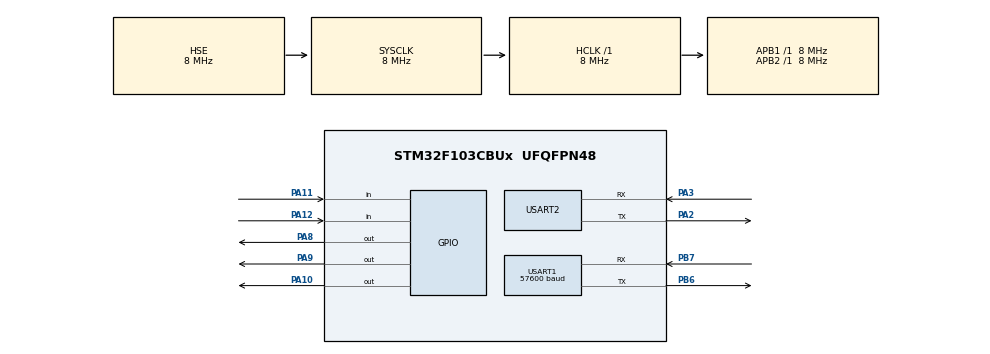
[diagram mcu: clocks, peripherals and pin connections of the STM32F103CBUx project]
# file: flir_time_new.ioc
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Dma.Request0=USART1_RX
Dma.USART1_RX.0.Direction=DMA_PERIPH_TO_MEMORY
Dma.USART1_RX.0.Instance=DMA1_Channel5
Dma.USART1_RX.0.MemDataAlignment=DMA_MDATAALIGN_BYTE
Dma.USART1_RX.0.MemInc=DMA_MINC_ENABLE
Dma.USART1_RX.0.Mode=DMA_NORMAL
Dma.USART1_RX.0.PeriphDataAlignment=DMA_PDATAALIGN_BYTE
Dma.USART1_RX.0.PeriphInc=DMA_PINC_DISABLE
Dma.USART1_RX.0.Priority=DMA_PRIORITY_LOW
Mcu.Family=STM32F1
Mcu.Name=STM32F103CBUx
Mcu.Package=UFQFPN48
NVIC.DMA1_Channel5_IRQn=true\:0\:0\:false\:false\:true\:false
NVIC.PriorityGroup=NVIC_PRIORITYGROUP_4
NVIC.USART1_IRQn=true\:0\:0\:false\:false\:true\:true
PA10.Signal=GPIO_Output
PA11.Signal=GPIO_Input
PA12.Signal=GPIO_Input
PA13.Mode=Serial_Wire
PA13.Signal=SYS_JTMS-SWDIO
PA14.Mode=Serial_Wire
PA14.Signal=SYS_JTCK-SWCLK
PA2.Mode=Asynchronous
PA2.Signal=USART2_TX
PA3.Mode=Asynchronous
PA3.Signal=USART2_RX
PA8.Signal=GPIO_Output
PA9.Signal=GPIO_Output
PB6.Mode=Asynchronous
PB6.Signal=USART1_TX
PB7.Mode=Asynchronous
PB7.Signal=USART1_RX
PD0-OSC_IN.Mode=HSE-External-Oscillator
PD0-OSC_IN.Signal=RCC_OSC_IN
PD1-OSC_OUT.Mode=HSE-External-Oscillator
PD1-OSC_OUT.Signal=RCC_OSC_OUT
ProjectManager.HeapSize=0x200
ProjectManager.StackSize=0x400
ProjectManager.TargetToolchain=MDK-ARM V5
RCC.AHBFreq_Value=8000000
RCC.APB1Freq_Value=8000000
RCC.APB1TimFreq_Value=8000000
RCC.APB2Freq_Value=8000000
RCC.APB2TimFreq_Value=8000000
RCC.HCLKFreq_Value=8000000
RCC.SYSCLKFreq_VALUE=8000000
RCC.SYSCLKSource=RCC_SYSCLKSOURCE_HSE
RCC.USBFreq_Value=8000000
USART1.BaudRate=57600
USART1.VirtualMode=VM_ASYNC
USART2.VirtualMode=VM_ASYNC
board=flir

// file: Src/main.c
/**
  ******************************************************************************
  * @file           : main.c
  * @brief          : Main program body
  ******************************************************************************
  ** This notice applies to any and all portions of this file
  * that are not between comment pairs USER CODE BEGIN and
  * USER CODE END. Other portions of this file, whether
  * inserted by the user or by software development tools
  * are owned by their respective copyright owners.
  *
  * COPYRIGHT(c) 2018 STMicroelectronics
  *
  * Redistribution and use in source and binary forms, with or without modification,
  * are permitted provided that the following conditions are met:
  *   1. Redistributions of source code must retain the above copyright notice,
  *      this list of conditions and the following disclaimer.
  *   2. Redistributions in binary form must reproduce the above copyright notice,
  *      this list of conditions and the following disclaimer in the documentation
  *      and/or other materials provided with the distribution.
  *   3. Neither the name of STMicroelectronics nor the names of its contributors
  *      may be used to endorse or promote products derived from this software
  *      without specific prior written permission.
  *
  * THIS SOFTWARE IS PROVIDED BY THE COPYRIGHT HOLDERS AND CONTRIBUTORS "AS IS"
  * AND ANY EXPRESS OR IMPLIED WARRANTIES, INCLUDING, BUT NOT LIMITED TO, THE
  * IMPLIED WARRANTIES OF MERCHANTABILITY AND FITNESS FOR A PARTICULAR PURPOSE ARE
  * DISCLAIMED. IN NO EVENT SHALL THE COPYRIGHT HOLDER OR CONTRIBUTORS BE LIABLE
  * FOR ANY DIRECT, INDIRECT, INCIDENTAL, SPECIAL, EXEMPLARY, OR CONSEQUENTIAL
  * DAMAGES (INCLUDING, BUT NOT LIMITED TO, PROCUREMENT OF SUBSTITUTE GOODS OR
  * SERVICES; LOSS OF USE, DATA, OR PROFITS; OR BUSINESS INTERRUPTION) HOWEVER
  * CAUSED AND ON ANY THEORY OF LIABILITY, WHETHER IN CONTRACT, STRICT LIABILITY,
  * OR TORT (INCLUDING NEGLIGENCE OR OTHERWISE) ARISING IN ANY WAY OUT OF THE USE
  * OF THIS SOFTWARE, EVEN IF ADVISED OF THE POSSIBILITY OF SUCH DAMAGE.
  *
  ******************************************************************************
  */
#include "main.h"
#include "stm32f1xx_hal.h"
#include "dma.h"
#include "usart.h"
#include "gpio.h"

/* USER CODE BEGIN Includes */
#include "flir.h"
#include "core.h"
#include "ui_menu.h"

#define  RXBUFLEN  64

/* USER CODE END Includes */

/* USER CODE BEGIN PV */
/* Private variables ---------------------------------------------------------*/
uint32_t cur_tick = 0;
uint32_t tmp_tick = 0;
uint32_t sec_tick = 0;

uint8_t rx_cnt = 0;
uint8_t rx_data = 0;
uint8_t rx_buff[RXBUFLEN];
uint8_t answ_ready = 0;
uint8_t *ui_rx_buff;

uint16_t to_save = 0;

uint8_t keys_mode = 0;

/* USER CODE END PV */

void SystemClock_Config(void);

/* USER CODE BEGIN PFP */
/* Private function prototypes -----------------------------------------------*/
/* USER CODE END PFP */

int main(void)
{
  /* USER CODE BEGIN 1 */

	//uint8_t i;
	uint8_t btn_grp[3] = {0, 0 ,0};
  uint8_t btn = 0, tmp_btn = 0;
	uint8_t mode = 0;
	uint8_t cmd_init = 0;
	uint8_t res_test = 0;
	uint8_t cnt_init = 0;
	uint16_t btn_time = 0;

	//btn_grp[0] = 0; btn_grp[1] = 0; btn_grp[2] = 0;

  /* USER CODE END 1 */

  /* MCU Configuration----------------------------------------------------------*/

  /* Reset of all peripherals, Initializes the Flash interface and the Systick. */
  HAL_Init();

  /* Configure the system clock */
  SystemClock_Config();

  /* Initialize all configured peripherals */
  MX_GPIO_Init();
  MX_DMA_Init();
  MX_USART2_UART_Init();
  MX_USART1_UART_Init();
  /* USER CODE BEGIN 2 */
	HAL_GPIO_WritePin(GPIOA, GPIO_PIN_11|GPIO_PIN_12, GPIO_PIN_SET);
	HAL_GPIO_WritePin(GPIOA, GPIO_PIN_8|GPIO_PIN_9|GPIO_PIN_10, GPIO_PIN_SET);

	HAL_UART_Receive_IT(&huart1, &rx_data, 1);

	ui_rx_buff = rx_buff;

	printf("Hello!\n\r");

	btn = 0;
	HAL_GPIO_WritePin(GPIOA, GPIO_PIN_8, GPIO_PIN_RESET);
	if (HAL_GPIO_ReadPin(GPIOA, GPIO_PIN_11) == GPIO_PIN_RESET) btn = 4;
	else if (HAL_GPIO_ReadPin(GPIOA, GPIO_PIN_12) == GPIO_PIN_RESET) btn = 1;
	HAL_GPIO_WritePin(GPIOA, GPIO_PIN_8, GPIO_PIN_SET);

	HAL_GPIO_WritePin(GPIOA, GPIO_PIN_9, GPIO_PIN_RESET);
	if (HAL_GPIO_ReadPin(GPIOA, GPIO_PIN_11) == GPIO_PIN_RESET) btn = 5;
	else if (HAL_GPIO_ReadPin(GPIOA, GPIO_PIN_12) == GPIO_PIN_RESET) btn = 2;
	HAL_GPIO_WritePin(GPIOA, GPIO_PIN_9, GPIO_PIN_SET);

	HAL_GPIO_WritePin(GPIOA, GPIO_PIN_10, GPIO_PIN_RESET);
	if (HAL_GPIO_ReadPin(GPIOA, GPIO_PIN_11) == GPIO_PIN_RESET) btn = 6;
	else if (HAL_GPIO_ReadPin(GPIOA, GPIO_PIN_12) == GPIO_PIN_RESET) btn = 3;
	//HAL_GPIO_WritePin(GPIOA, GPIO_PIN_10, GPIO_PIN_SET);
	//btn = 3;
	HAL_GPIO_WritePin(GPIOA, GPIO_PIN_8|GPIO_PIN_9, GPIO_PIN_RESET);
	while ((HAL_GPIO_ReadPin(GPIOA, GPIO_PIN_11) == GPIO_PIN_RESET)||(HAL_GPIO_ReadPin(GPIOA, GPIO_PIN_12) == GPIO_PIN_RESET)){
		//HAL_Delay(1);
	}
	HAL_GPIO_WritePin(GPIOA, GPIO_PIN_8|GPIO_PIN_9|GPIO_PIN_10, GPIO_PIN_SET);

	printf("Button init %d\n\r", btn);

	HAL_Delay(1000);

	cur_tick = HAL_GetTick();
  /* USER CODE END 2 */

  /* Infinite loop */
  while (1)
  {

  /* USER CODE BEGIN 3 */
		//test ping on start
		if (cmd_init == 0){
			res_test = flir_test();
			printf("test %d\n\r", res_test);
			if (res_test != 0) cmd_init = 1;
			else cmd_init = 2;
		}
		//init after ping reply
		if (cmd_init == 1){
			opt_init();

			//if (btn == 1) opt_clear();
			//if (btn == 2) opt_aim1(0xff, 1);
			//if (btn == 3) opt_aim2(0xff);
			//if (btn == 5) opt_aim1(1, 0xff);
			//if (btn == 6) opt_aim2(1,);
			//if (btn != 0) to_save = 1;
			btn = 0;
			cmd_init = 3;
			//opt_test_colors(&huart1, rx_buff);
		}

		cur_tick = HAL_GetTick();
		if (cur_tick - tmp_tick >= 20){
			//printf(" tick %d %d %d\n\r", cur_tick, tmp_tick, cur_tick - tmp_tick);
			tmp_tick = cur_tick;

			HAL_GPIO_WritePin(GPIOA, GPIO_PIN_8|GPIO_PIN_9|GPIO_PIN_10, GPIO_PIN_SET);
			if      (mode == 0) HAL_GPIO_WritePin(GPIOA, GPIO_PIN_8, GPIO_PIN_RESET);
			else if (mode == 1) HAL_GPIO_WritePin(GPIOA, GPIO_PIN_9, GPIO_PIN_RESET);
			else if (mode == 2) HAL_GPIO_WritePin(GPIOA, GPIO_PIN_10, GPIO_PIN_RESET);

			btn_grp[mode] = 0;
			if      (HAL_GPIO_ReadPin(GPIOA, GPIO_PIN_11) == GPIO_PIN_RESET) btn_grp[mode] = 1;
			else if (HAL_GPIO_ReadPin(GPIOA, GPIO_PIN_12) == GPIO_PIN_RESET) btn_grp[mode] = 2;

			if      (mode == 0 && btn_grp[mode] == 1) btn = 1;
			else if (mode == 1 && btn_grp[mode] == 1) btn = 2;
			else if (mode == 2 && btn_grp[mode] == 1) btn = 3;
			else if (mode == 0 && btn_grp[mode] == 2) btn = 4;
			else if (mode == 1 && btn_grp[mode] == 2) btn = 5;
			else if (mode == 2 && btn_grp[mode] == 2) btn = 6;

			if (mode == 2) {
				if (btn_grp[0] == 0 && btn_grp[1] == 0 && btn_grp[2] == 0)
				{
					btn = 0;
					if (tmp_btn) printf("Button up %d %d\n\r", tmp_btn, btn_time);

					if (keys_mode==0){
						if (btn_time > 60){
							//if (tmp_btn == 1) opt_agg  ();
							//if (tmp_btn == 2) opt_aim1 (0xff, 1);
							//if (tmp_btn == 3) opt_aim2 (0xff);
							//if (tmp_btn == 4) opt_clear();
							//if (tmp_btn == 5)	opt_aim1 (1, 0xff);
							//if (tmp_btn == 6)	opt_aim2 (1);
						}else if (btn_time > 5){
							if (tmp_btn == 1) opt_zoom_up        ();
							if (tmp_btn == 2) opt_brightness_up  ();
							//if (tmp_btn == 1) opt_tilt_up       ();
							if (tmp_btn == 3) opt_pallette_up    ();
							//if (tmp_btn == 3) opt_pan_up        ();
							//if (tmp_btn == 4) opt_zoom_down     ();
							if (tmp_btn == 4) {
								menu_draw();
								keys_mode = 1;
							}
							if (tmp_btn == 5)	opt_brightness_down();

							//if (tmp_btn == 4)	opt_tilt_down  ();
							if (tmp_btn == 6)	opt_pallette_down  ();
							//if (tmp_btn == 6)	opt_pan_down  ();
						}
					} else if (keys_mode==1) {
						//
							if (tmp_btn == 2) menu_up();
							if (tmp_btn == 5)	menu_down();
							if (tmp_btn == 4) {
								menu_select();
							}
					} else if (keys_mode==2) {
						//
							if (tmp_btn == 4) {
								menu_hide();
								keys_mode = 0;
							}
					} else if (keys_mode==3) {
						//
							if (tmp_btn == 2) opt_sight_up();
							if (tmp_btn == 5)	opt_sight_down();
							if (tmp_btn == 4) {
								menu_hide();
								keys_mode = 0;
							}
					} else if (keys_mode==4) {
						//
							if (tmp_btn == 2)
							{
								opt_tilt_up();
								opt_draw_pan_tilt(99, 20, 25, 1, 0, 0, 255);
							}
							if (tmp_btn == 5)	{
								opt_tilt_down();
								opt_draw_pan_tilt(99, 20, 25, 1, 0, 0, 255);
							}
							if (tmp_btn == 1) {
								opt_pan_up();
								opt_draw_pan_tilt(99, 20, 25, 1, 0, 0, 255);
							}
							if (tmp_btn == 3)	{
								opt_pan_down();
								opt_draw_pan_tilt(99, 20, 25, 1, 0, 0, 255);
							}
							if (tmp_btn == 4) {
								menu_main();
								menu_hide();
								keys_mode = 0;
							}
					} else if (keys_mode==5) {
							if (tmp_btn == 2) {
								opt_pallette_step_up();
								opt_draw_palette(99, 20, 25, 1, 0, 0, 255);
							}
							if (tmp_btn == 5)	{
								opt_pallette_step_down();
								opt_draw_palette(99, 20, 25, 1, 0, 0, 255);
						  }
							if (tmp_btn == 4) {
								menu_hide();
								opt_pallette_set();
								keys_mode = 0;
							}
					}
					btn_time = 0;
				}
			}

			if (btn != 0) {
				btn_time++;
			}

			if (btn != tmp_btn) {
				if (btn != 0) {
					printf("Button down %d\n\r", btn);
					rx_cnt = 0;
					if (cmd_init == 3){
						//if (btn == 1) opt_zoom_up        ();
						//if (btn == 2) opt_brightness_up  ();
						//if (btn == 3) opt_pallette_up    ();
						//if (btn == 4) opt_zoom_down      ();
						//if (btn == 5)	opt_brightness_down();
						//if (btn == 6)	opt_pallette_down  ();
					}
				} else {
					//if (tmp_btn) printf("Button up %d\n\r", tmp_btn);
				}
				tmp_btn = btn;
			}

			mode++;
			if (mode > 2) {
				mode = 0;
				//if (btn_grp[0] == 0 && btn_grp[1] == 0 && btn_grp[2] == 0) btn = 0;
			}
		}

		cur_tick = HAL_GetTick();
		if (cur_tick - sec_tick >= 1000){
			//printf(" tick %d %d %d\n\r", cur_tick, tmp_tick, cur_tick - tmp_tick);
			sec_tick = cur_tick;

			//reping after 1sec
			if (cmd_init == 2) cnt_init++;
			if (cnt_init >= 1){
				cmd_init = 0;
				cnt_init = 0;
			}

#ifdef FLIR_AUTOSAVE
			if (to_save > 0) to_save++;
			if (to_save >= 10){
				opt_save();
				to_save = 0;
			}
#endif
		}
  }
  /* USER CODE END 3 */

}

void SystemClock_Config(void)
{

  RCC_OscInitTypeDef RCC_OscInitStruct;
  RCC_ClkInitTypeDef RCC_ClkInitStruct;

    /**Initializes the CPU, AHB and APB busses clocks
    */
  RCC_OscInitStruct.OscillatorType = RCC_OSCILLATORTYPE_HSE;
  RCC_OscInitStruct.HSEState = RCC_HSE_ON;
  RCC_OscInitStruct.PLL.PLLState = RCC_PLL_NONE;
  if (HAL_RCC_OscConfig(&RCC_OscInitStruct) != HAL_OK)
  {
    _Error_Handler(__FILE__, __LINE__);
  }

    /**Initializes the CPU, AHB and APB busses clocks
    */
  RCC_ClkInitStruct.ClockType = RCC_CLOCKTYPE_HCLK|RCC_CLOCKTYPE_SYSCLK
                              |RCC_CLOCKTYPE_PCLK1|RCC_CLOCKTYPE_PCLK2;
  RCC_ClkInitStruct.SYSCLKSource = RCC_SYSCLKSOURCE_HSE;
  RCC_ClkInitStruct.AHBCLKDivider = RCC_SYSCLK_DIV1;
  RCC_ClkInitStruct.APB1CLKDivider = RCC_HCLK_DIV1;
  RCC_ClkInitStruct.APB2CLKDivider = RCC_HCLK_DIV1;

  if (HAL_RCC_ClockConfig(&RCC_ClkInitStruct, FLASH_LATENCY_0) != HAL_OK)
  {
    _Error_Handler(__FILE__, __LINE__);
  }

    /**Configure the Systick interrupt time
    */
  HAL_SYSTICK_Config(HAL_RCC_GetHCLKFreq()/1000);

    /**Configure the Systick
    */
  HAL_SYSTICK_CLKSourceConfig(SYSTICK_CLKSOURCE_HCLK);

  /* SysTick_IRQn interrupt configuration */
  HAL_NVIC_SetPriority(SysTick_IRQn, 0, 0);
}

/* USER CODE BEGIN 4 */
void HAL_UART_RxCpltCallback(UART_HandleTypeDef *huart)
{
	uint8_t i;
	if (huart->Instance == USART1) {
		if (rx_cnt == 0) {
			for (i=0; i < RXBUFLEN; i++) rx_buff[i]=0;
		}

		rx_buff[rx_cnt] = rx_data;
		rx_cnt++;

		HAL_UART_Receive_IT(huart, &rx_data, 1);

		if (rx_cnt >= 8){
			if (rx_buff[0] == FLIR_FIRST_BYTE){
				if (rx_cnt == rx_buff[5] + 10) {
					answ_ready = 1;
				}
			}
		}
	}
}

/* USER CODE END 4 */

void _Error_Handler(char *file, int line)
{
  while(1)
  {
  }
}

/************************ (C) COPYRIGHT STMicroelectronics *****END OF FILE****/
